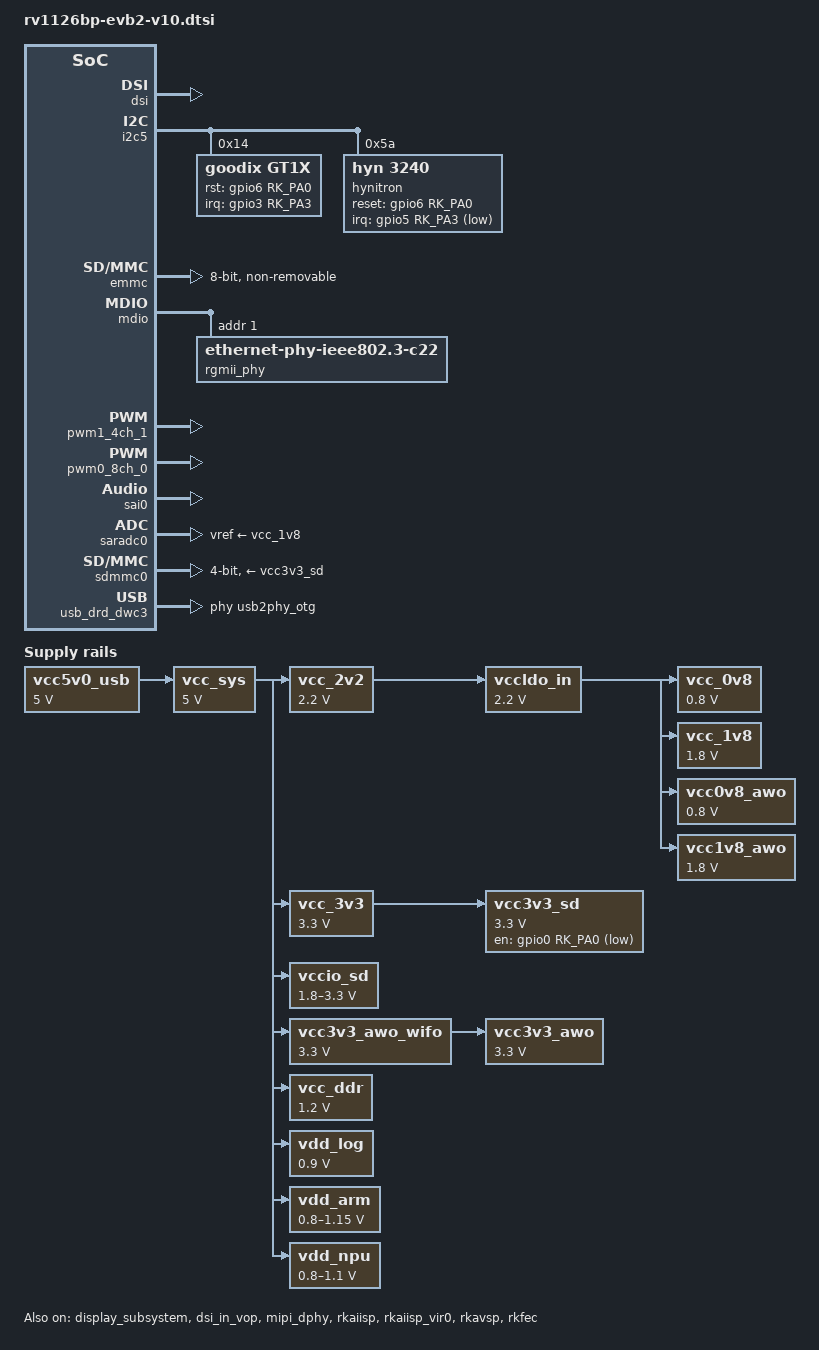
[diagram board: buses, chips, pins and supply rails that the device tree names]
// SPDX-License-Identifier: (GPL-2.0+ OR MIT)
/*
 * Copyright (c) 2026 Rockchip Electronics Co., Ltd.
 */

/ {
	vcc5v0_usb: vcc5v0-usb {
		compatible = "regulator-fixed";
		regulator-name = "vcc5v0_usb";
		regulator-always-on;
		regulator-boot-on;
		regulator-min-microvolt = <5000000>;
		regulator-max-microvolt = <5000000>;
	};

	vcc_sys: vcc-sys {
		compatible = "regulator-fixed";
		regulator-name = "vcc_sys";
		regulator-always-on;
		regulator-boot-on;
		regulator-min-microvolt = <5000000>;
		regulator-max-microvolt = <5000000>;
		vin-supply = <&vcc5v0_usb>;
	};

	vcc_2v2: vcc-2v2 {
		compatible = "regulator-fixed";
		regulator-name = "vcc_2v2";
		regulator-always-on;
		regulator-boot-on;
		regulator-min-microvolt = <2200000>;
		regulator-max-microvolt = <2200000>;
		vin-supply = <&vcc_sys>;
	};

	vccldo_in: vccldo-in {
		compatible = "regulator-fixed";
		regulator-name = "vccldo_in";
		regulator-always-on;
		regulator-boot-on;
		regulator-min-microvolt = <2200000>;
		regulator-max-microvolt = <2200000>;
		vin-supply = <&vcc_2v2>;
	};

	vcc_0v8: vcc-0v8 {
		compatible = "regulator-fixed";
		regulator-name = "vcc_0v8";
		regulator-always-on;
		regulator-boot-on;
		regulator-min-microvolt = <800000>;
		regulator-max-microvolt = <800000>;
		vin-supply = <&vccldo_in>;
	};

	vcc_1v8: vcc-1v8 {
		compatible = "regulator-fixed";
		regulator-name = "vcc_1v8";
		regulator-always-on;
		regulator-boot-on;
		regulator-min-microvolt = <1800000>;
		regulator-max-microvolt = <1800000>;
		vin-supply = <&vccldo_in>;
	};

	vcc_3v3: vcc-3v3 {
		compatible = "regulator-fixed";
		regulator-name = "vcc_3v3";
		regulator-always-on;
		regulator-boot-on;
		regulator-min-microvolt = <3300000>;
		regulator-max-microvolt = <3300000>;
		vin-supply = <&vcc_sys>;
	};

	vcc3v3_sd: vcc3v3-sd {
		compatible = "regulator-fixed";
		gpio = <&gpio0 RK_PA0 GPIO_ACTIVE_LOW>;
		regulator-name = "vcc3v3_sd";
		regulator-min-microvolt = <3300000>;
		regulator-max-microvolt = <3300000>;
		enable-active-low;
		vin-supply = <&vcc_3v3>;
	};

	vccio_sd: vccio-sd {
		compatible = "regulator-gpio";
		regulator-boot-on;
		regulator-name = "vccio_sd";
		regulator-min-microvolt = <1800000>;
		regulator-max-microvolt = <3300000>;
		regulator-init-microvolt = <3300000>;
		pinctrl-names = "default";
		pinctrl-0 = <&sdmmc_volt>;
		gpios = <&gpio3 RK_PA7 GPIO_ACTIVE_HIGH>;
		vin-supply = <&vcc_sys>;
		states = <1800000 0x0
			  3300000 0x1>;
	};

	vcc3v3_awo_wifo: vcc3v3-awo-wifo {
		compatible = "regulator-fixed";
		regulator-name = "vcc3v3_awo_wifo";
		regulator-always-on;
		regulator-boot-on;
		regulator-min-microvolt = <3300000>;
		regulator-max-microvolt = <3300000>;
		vin-supply = <&vcc_sys>;
	};

	vcc0v8_awo: vcc0v8-awo {
		compatible = "regulator-fixed";
		regulator-name = "vcc0v8_awo";
		regulator-always-on;
		regulator-boot-on;
		regulator-min-microvolt = <800000>;
		regulator-max-microvolt = <800000>;
		vin-supply = <&vccldo_in>;
	};

	vcc1v8_awo: vcc1v8-awo {
		compatible = "regulator-fixed";
		regulator-name = "vcc1v8_awo";
		regulator-always-on;
		regulator-boot-on;
		regulator-min-microvolt = <1800000>;
		regulator-max-microvolt = <1800000>;
		vin-supply = <&vccldo_in>;
	};

	vcc3v3_awo: vcc3v3-awo {
		compatible = "regulator-fixed";
		regulator-name = "vcc3v3_awo";
		regulator-always-on;
		regulator-boot-on;
		regulator-min-microvolt = <3300000>;
		regulator-max-microvolt = <3300000>;
		vin-supply = <&vcc3v3_awo_wifo>;
	};

	vcc_ddr: vcc-ddr {
		compatible = "regulator-fixed";
		regulator-name = "vcc_ddr";
		regulator-always-on;
		regulator-boot-on;
		regulator-min-microvolt = <1200000>;
		regulator-max-microvolt = <1200000>;
		vin-supply = <&vcc_sys>;
	};

	vdd_log: vdd-log {
		compatible = "regulator-fixed";
		regulator-name = "vdd_log";
		regulator-always-on;
		regulator-boot-on;
		regulator-min-microvolt = <900000>;
		regulator-max-microvolt = <900000>;
		vin-supply = <&vcc_sys>;
	};

	vdd_arm: vdd-arm {
		compatible = "pwm-regulator";
		pwms = <&pwm0_8ch_0 0 25000 1>;
		regulator-name = "vdd_arm";
		regulator-init-microvolt = <950000>;
		regulator-min-microvolt = <800000>;
		regulator-max-microvolt = <1150000>;
		regulator-settling-time-up-us = <250>;
		regulator-always-on;
		regulator-boot-on;
		pwm-supply = <&vcc_sys>;
		status = "okay";
	};

	vdd_npu: vdd-npu {
		compatible = "pwm-regulator";
		pwms = <&pwm0_8ch_1 0 25000 1>;
		regulator-name = "vdd_npu";
		regulator-init-microvolt = <950000>;
		regulator-min-microvolt = <800000>;
		regulator-max-microvolt = <1100000>;
		regulator-settling-time-up-us = <250>;
		regulator-always-on;
		regulator-boot-on;
		pwm-supply = <&vcc_sys>;
		status = "okay";
	};
};

&backlight {
	pwms = <&pwm1_4ch_1 0 25000 0>;
};

&cpu0 {
	cpu-supply = <&vdd_arm>;
};

&display_subsystem {
	status = "okay";
};

&dsi {
	status = "okay";
};

&dsi_in_vop {
	status = "okay";
};

&i2c5 {
	pinctrl-0 = <&i2c5m0_pins>;
	status = "okay";

	gt1x: gt1x@14 {
		compatible = "goodix,gt1x";
		reg = <0x14>;
		pinctrl-names = "default";
		pinctrl-0 = <&touch_gpio>;
		goodix,rst-gpio = <&gpio6 RK_PA0 GPIO_ACTIVE_HIGH>;
		goodix,irq-gpio = <&gpio3 RK_PA3 IRQ_TYPE_LEVEL_LOW>;
		gtp_ics_slot_report;
	};

	hynitron: hynitron@5a {
		compatible = "hyn,3240";
		reg = <0x5a>;

		pinctrl-names = "ts_active","ts_suspend";
		pinctrl-0 = <&ts_int_active &ts_reset_active>;
		pinctrl-1 = <&ts_int_suspend &ts_reset_suspend>;

		reset-gpios = <&gpio6 RK_PA0 GPIO_ACTIVE_HIGH>;
		irq-gpios = <&gpio5 RK_PA3 GPIO_ACTIVE_LOW>;

		max-touch-number = <5>;
		display-coords = <0 0 1080 1920>;
		pos-swap = <0>;
		posx-reverse = <0>;
		posy-reverse = <0>;
	};
};

&emmc {
	bus-width = <8>;
	cap-mmc-highspeed;
	non-removable;
	mmc-hs200-1_8v;
	rockchip,default-sample-phase = <90>;
	no-sdio;
	no-sd;
	status = "okay";
};

&mdio {
	rgmii_phy: phy@1 {
		compatible = "ethernet-phy-ieee802.3-c22";
		reg = <0x1>;
		clocks = <&cru CLK_MAC_OUT2IO>;
	};
};

&mipi_dphy {
	status = "okay";
};

&pinctrl {
	buttons {
		pwr_key: pwr-key {
			rockchip,pins = <0 RK_PC0 RK_FUNC_GPIO &pcfg_pull_up>;
		};
	};

	sdmmc {
		/omit-if-no-ref/
		sdmmc_volt: sdmmc-volt {
			rockchip,pins = <3 RK_PA7 RK_FUNC_GPIO &pcfg_pull_none>;
		};
	};

	touch {
		touch_gpio: touch-gpio {
			rockchip,pins =
				<6 RK_PA0 RK_FUNC_GPIO &pcfg_pull_up>,
				<5 RK_PA3 RK_FUNC_GPIO &pcfg_pull_none>;
		};

		ts_int_active: ts_int_active {
			rockchip,pins = <6 RK_PA0 RK_FUNC_GPIO &pcfg_pull_up>;
		};

		ts_reset_active: ts_reset_active {
			rockchip,pins = <5 RK_PA3 RK_FUNC_GPIO &pcfg_pull_up>;
		};

		ts_int_suspend: ts_int_suspend {
			rockchip,pins = <6 RK_PA0 RK_FUNC_GPIO &pcfg_pull_down>;
		};

		ts_reset_suspend: ts_reset_suspend {
			rockchip,pins = <5 RK_PA3 RK_FUNC_GPIO &pcfg_pull_down>;
		};
	};
};

&pwm1_4ch_1 {
	status = "okay";
};

&pwm0_8ch_0 {
	status = "okay";
};

&rkaiisp {
	status = "okay";
};

&rkaiisp_mmu {
	status = "okay";
};

&rkaiisp_vir0 {
	status = "okay";
};

&rkavsp {
	status = "okay";
};

&rkavsp_mmu {
	status = "okay";
};

&rkfec {
	status = "okay";
};

&rkfec_mmu {
	status = "okay";
};

&rknpu {
	rknpu-supply = <&vdd_npu>;
};

&sai0 {
	status = "okay";
	rockchip,sai-rx-route = <3 1 2 0>;
	pinctrl-names = "default";
	pinctrl-0 = <&sai0m0_lrck_pins
		     &sai0m0_sclk_pins
		     &sai0m0_sdi3_pins
		     &sai0m0_sdo0_pins>;
};

&sai0_mclkout {
	status = "okay";
};

&saradc0 {
	vref-supply = <&vcc_1v8>;
};

&sdmmc0 {
	max-frequency = <200000000>;
	no-sdio;
	no-mmc;
	bus-width = <4>;
	cap-mmc-highspeed;
	cap-sd-highspeed;
	disable-wp;
	sd-uhs-sdr104;
	vmmc-supply = <&vcc3v3_sd>;
	vqmmc-supply = <&vccio_sd>;
	status = "okay";
};

&usb2phy_host {
	phy-supply = <&vcc_sys>;
};

&usb_drd_dwc3 {
	extcon = <&usb2phy>;
	phys = <&usb2phy_otg>;
	phy-names = "usb2-phy";
	maximum-speed = "high-speed";
	snps,dis_u2_susphy_quirk;
	snps,usb2-lpm-disable;
	snps,usb2-gadget-lpm-disable;
};
